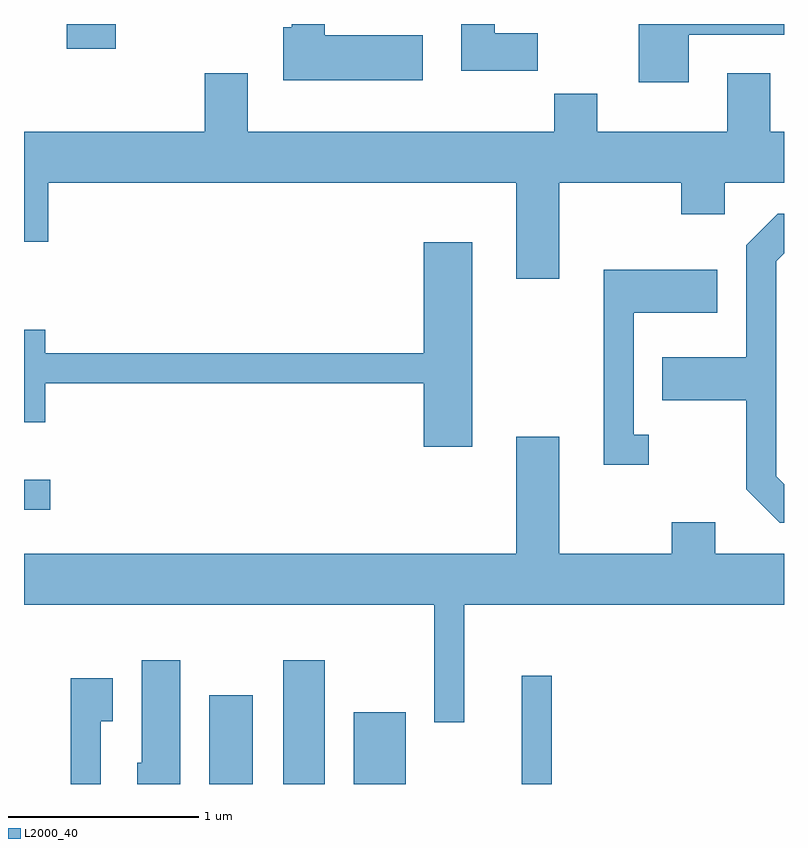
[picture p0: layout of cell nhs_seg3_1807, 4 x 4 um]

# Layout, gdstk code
import gdstk
lib = gdstk.Library(unit=1e-6, precision=1e-09)
def R(c, l, rs):  # rectangles x0, y0, x1, y1
    for r in rs: c.add(gdstk.rectangle(r[:2], r[2:], *l))
def P(c, l, *ps):  # polygons
    for p in ps: c.add(gdstk.Polygon(p, *l))
L2000_40 = (2000, 40)

nhs_seg3_1807 = lib.new_cell('nhs_seg3_1807')
R(nhs_seg3_1807, L2000_40, [(238.586,1193.892,238.814,1194.359), (238.976,1193.892,239.194,1194.544), (239.346,1193.892,239.619,1194.269), (240.231,1193.892,240.389,1194.463), (237.611,1195.336,237.748,1195.494), (237.836,1197.761,238.094,1197.892)])
P(nhs_seg3_1807, L2000_40, [(241.109,1197.836),(241.611,1197.836),(241.611,1197.892),(240.846,1197.892),(240.846,1197.586),(241.109,1197.586)],
  [(240.314,1197.844),(240.089,1197.844),(240.089,1197.892),(239.911,1197.892),(239.911,1197.646),(240.314,1197.646)],
  [(239.709,1197.834),(239.194,1197.834),(239.194,1197.892),(239.021,1197.892),(239.021,1197.874),(238.976,1197.874),(238.976,1197.596),(239.709,1197.596)],
  [(241.611,1197.324),(241.539,1197.324),(241.539,1197.634),(241.311,1197.634),(241.311,1197.324),(240.629,1197.324),(240.629,1197.524),(240.401,1197.524),(240.401,1197.324),(238.789,1197.324),(238.789,1197.634),(238.561,1197.634),(238.561,1197.324),(237.611,1197.324),(237.611,1196.746),(237.739,1196.746),(237.739,1197.056),(240.201,1197.056),(240.201,1196.551),(240.429,1196.551),(240.429,1197.056),(241.071,1197.056),(241.071,1196.891),(241.299,1196.891),(241.299,1197.056),(241.611,1197.056)],
  [(241.611,1195.47),(241.569,1195.512),(241.569,1196.644),(241.611,1196.686),(241.611,1196.894),(241.579,1196.894),(241.411,1196.727),(241.411,1196.139),(240.971,1196.139),(240.971,1195.911),(241.411,1195.911),(241.411,1195.444),(241.589,1195.266),(241.611,1195.266)],
  [(239.969,1196.744),(239.716,1196.744),(239.716,1196.159),(237.724,1196.159),(237.724,1196.284),(237.611,1196.284),(237.611,1195.796),(237.724,1195.796),(237.724,1196.001),(239.716,1196.001),(239.716,1195.666),(239.969,1195.666)],
  [(240.898,1195.729),(240.819,1195.729),(240.819,1196.371),(241.259,1196.371),(241.259,1196.599),(240.661,1196.599),(240.661,1195.571),(240.898,1195.571)],
  [(239.929,1194.836),(241.611,1194.836),(241.611,1195.104),(241.249,1195.104),(241.249,1195.269),(241.021,1195.269),(241.021,1195.104),(240.429,1195.104),(240.429,1195.719),(240.201,1195.719),(240.201,1195.104),(237.611,1195.104),(237.611,1194.836),(239.771,1194.836),(239.771,1194.218),(239.929,1194.218)],
  [(238.434,1194.544),(238.231,1194.544),(238.231,1194.004),(238.206,1194.004),(238.206,1193.892),(238.434,1193.892)],
  [(238.014,1194.221),(238.079,1194.221),(238.079,1194.449),(237.856,1194.449),(237.856,1193.892),(238.014,1193.892)])

lib.write_gds('nhs_seg3_1807.gds')
